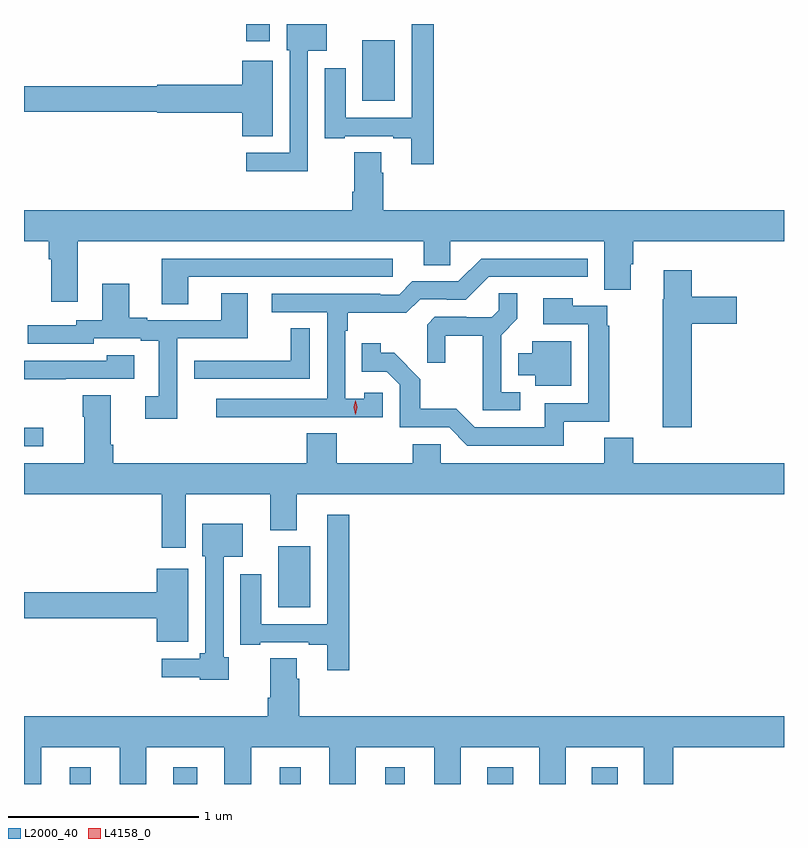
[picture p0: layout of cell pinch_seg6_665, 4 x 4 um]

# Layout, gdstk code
import gdstk
lib = gdstk.Library(unit=1e-6, precision=1e-09)
def R(c, l, rs):  # rectangles x0, y0, x1, y1
    for r in rs: c.add(gdstk.rectangle(r[:2], r[2:], *l))
def P(c, l, *ps):  # polygons
    for p in ps: c.add(gdstk.Polygon(p, *l))
L2000_40 = (2000, 40)
L4158_0 = (4158, 0)

pinch_seg6_665 = lib.new_cell('pinch_seg6_665')
R(pinch_seg6_665, L2000_40, [(467.252,945.811,467.362,945.898), (467.795,945.811,467.923,945.898), (468.356,945.811,468.466,945.898), (468.911,945.811,469.015,945.898), (469.448,945.811,469.585,945.898), (469.997,945.811,470.134,945.898), (468.347,946.742,468.517,947.062), (467.01,947.589,467.11,947.685), (468.791,949.406,468.961,949.726), (468.179,949.719,468.304,949.811)])
P(pinch_seg6_665, L2000_40, [(468.504,949.67),(468.604,949.67),(468.604,949.811),(468.392,949.811),(468.392,949.674),(468.408,949.674),(468.408,949.134),(468.18,949.134),(468.18,949.037),(468.504,949.037)],
  [(469.166,949.811),(469.05,949.811),(469.05,949.317),(468.703,949.317),(468.703,949.579),(468.593,949.579),(468.593,949.209),(468.697,949.209),(468.697,949.221),(468.953,949.221),(468.953,949.209),(469.049,949.209),(469.049,949.074),(469.166,949.074)],
  [(468.319,949.618),(468.158,949.618),(468.158,949.49),(467.712,949.49),(467.712,949.484),(467.01,949.484),(467.01,949.348),(467.712,949.348),(467.712,949.343),(468.158,949.343),(468.158,949.219),(468.319,949.219)],
  [(468.889,949.028),(468.889,949.136),(468.749,949.136),(468.749,948.928),(468.737,948.928),(468.737,948.832),(467.01,948.832),(467.01,948.668),(467.141,948.668),(467.141,948.572),(467.153,948.572),(467.153,948.348),(467.293,948.348),(467.293,948.668),(469.115,948.668),(469.115,948.541),(469.254,948.541),(469.254,948.668),(470.063,948.668),(470.063,948.412),(470.203,948.412),(470.203,948.546),(470.216,948.546),(470.216,948.668),(471.01,948.668),(471.01,948.832),(468.902,948.832),(468.902,949.028)],
  [(467.875,948.48),(468.952,948.48),(468.952,948.576),(467.735,948.576),(467.735,948.337),(467.875,948.337)],
  [(468.413,947.742),(468.897,947.742),(468.897,947.871),(468.801,947.871),(468.801,947.839),(468.702,947.839),(468.702,948.197),(468.715,948.197),(468.715,948.29),(469.022,948.29),(469.095,948.363),(469.234,948.363),(469.234,948.36),(469.335,948.36),(469.455,948.48),(469.978,948.48),(469.978,948.576),(469.416,948.576),(469.296,948.456),(469.053,948.456),(468.984,948.387),(468.884,948.387),(468.884,948.39),(468.315,948.39),(468.315,948.294),(468.606,948.294),(468.606,947.838),(468.021,947.838),(468.021,947.74),(468.413,947.74)],
  [(470.525,948.233),(470.761,948.233),(470.761,948.375),(470.525,948.375),(470.525,948.514),(470.378,948.514),(470.378,948.363),(470.371,948.363),(470.371,947.688),(470.525,947.688)],
  [(467.817,948.156),(468.187,948.156),(468.187,948.395),(468.047,948.395),(468.047,948.252),(467.659,948.252),(467.659,948.265),(467.563,948.265),(467.563,948.445),(467.423,948.445),(467.423,948.252),(467.286,948.252),(467.286,948.225),(467.031,948.225),(467.031,948.129),(467.376,948.129),(467.376,948.156),(467.624,948.156),(467.624,948.144),(467.72,948.144),(467.72,947.853),(467.649,947.853),(467.649,947.733),(467.817,947.733)],
  [(469.621,947.874),(469.521,947.874),(469.521,948.173),(469.607,948.259),(469.607,948.395),(469.509,948.395),(469.509,948.304),(469.472,948.267),(469.338,948.267),(469.338,948.27),(469.173,948.27),(469.132,948.229),(469.132,948.027),(469.226,948.027),(469.226,948.17),(469.424,948.17),(469.424,947.778),(469.621,947.778)],
  [(469.85,947.718),(470.089,947.718),(470.089,948.224),(470.081,948.224),(470.081,948.327),(469.899,948.327),(469.899,948.367),(469.743,948.367),(469.743,948.231),(469.98,948.231),(469.98,947.814),(469.751,947.814),(469.751,947.688),(469.383,947.688),(469.285,947.787),(469.096,947.787),(469.096,947.942),(468.958,948.08),(468.888,948.08),(468.888,948.13),(468.787,948.13),(468.787,947.982),(468.918,947.982),(468.987,947.913),(468.987,947.688),(469.248,947.688),(469.344,947.592),(469.85,947.592)],
  [(468.513,948.209),(468.415,948.209),(468.415,948.039),(468.019,948.039),(468.019,948.038),(467.907,948.038),(467.907,947.943),(468.513,947.943)],
  [(469.891,948.142),(469.685,948.142),(469.685,948.079),(469.61,948.079),(469.61,947.963),(469.7,947.963),(469.7,947.906),(469.891,947.906)],
  [(467.231,947.943),(467.59,947.943),(467.59,948.067),(467.445,948.067),(467.445,948.039),(467.01,948.039),(467.01,947.941),(467.231,947.941)],
  [(467.86,947.336),(468.305,947.336),(468.305,947.147),(468.445,947.147),(468.445,947.336),(471.01,947.336),(471.01,947.5),(470.216,947.5),(470.216,947.633),(470.063,947.633),(470.063,947.5),(469.203,947.5),(469.203,947.598),(469.057,947.598),(469.057,947.5),(468.657,947.5),(468.657,947.657),(468.497,947.657),(468.497,947.5),(467.48,947.5),(467.48,947.596),(467.467,947.596),(467.467,947.857),(467.32,947.857),(467.32,947.744),(467.327,947.744),(467.327,947.5),(467.01,947.5),(467.01,947.336),(467.735,947.336),(467.735,947.055),(467.86,947.055)],
  [(468.722,947.227),(468.606,947.227),(468.606,946.653),(468.259,946.653),(468.259,946.915),(468.149,946.915),(468.149,946.545),(468.253,946.545),(468.253,946.557),(468.509,946.557),(468.509,946.545),(468.605,946.545),(468.605,946.41),(468.722,946.41)],
  [(468.088,946.479),(468.06,946.479),(468.06,947.006),(468.16,947.006),(468.16,947.182),(467.948,947.182),(467.948,947.01),(467.964,947.01),(467.964,946.498),(467.934,946.498),(467.934,946.47),(467.736,946.47),(467.736,946.373),(467.934,946.373),(467.934,946.361),(468.088,946.361)],
  [(467.875,946.945),(467.708,946.945),(467.708,946.82),(467.01,946.82),(467.01,946.684),(467.708,946.684),(467.708,946.559),(467.875,946.559)],
  [(467.101,946.004),(467.513,946.004),(467.513,945.811),(467.653,945.811),(467.653,946.004),(468.065,946.004),(468.065,945.811),(468.205,945.811),(468.205,946.004),(468.617,946.004),(468.617,945.811),(468.757,945.811),(468.757,946.004),(469.169,946.004),(469.169,945.811),(469.309,945.811),(469.309,946.004),(469.721,946.004),(469.721,945.811),(469.861,945.811),(469.861,946.004),(470.273,946.004),(470.273,945.811),(470.426,945.811),(470.426,946.004),(471.01,946.004),(471.01,946.168),(468.458,946.168),(468.458,946.364),(468.445,946.364),(468.445,946.472),(468.305,946.472),(468.305,946.264),(468.293,946.264),(468.293,946.168),(467.01,946.168),(467.01,945.811),(467.101,945.811)])
P(pinch_seg6_665, L4158_0, [(468.754,947.757),(468.745,947.793),(468.754,947.829),(468.755,947.829),(468.755,947.829),(468.765,947.793),(468.755,947.757),(468.755,947.757)])

lib.write_gds('pinch_seg6_665.gds')
